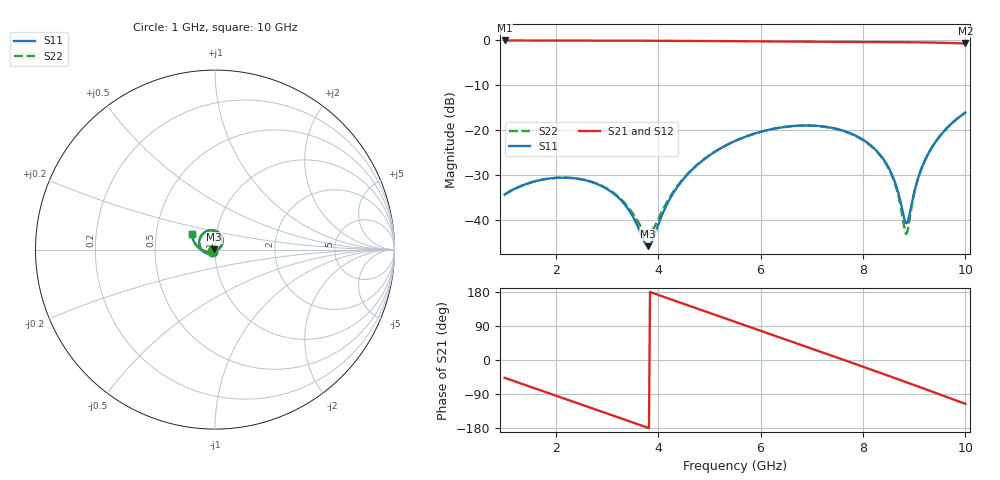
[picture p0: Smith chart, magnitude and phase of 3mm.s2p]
! Touchstone file exported from HFSS 2018.2.0
!  File:  C:/Users/10024/OneDrive - The University of Nottingham Ningbo China/Year 4/Final Year Project/HFSS project/Passive_Resonator_Antenna.aedt
!  Generated:  11:26:12 上午  3月 12, 2022
!  Design:  SMA_Thru
!  Project:  Passive_Resonator_Antenna
!  Setup:  Setup1
!  Solution:  Sweep
! Variables:
!  MW = 1.992mm
!  ThruL = 3mm
!  g = 0.2mm
!  subH = 0.8mm
!  subX = 20mm
!  subY = 13mm
!  tapW = 1.992mm
# GHZ S MA R 50.000000
! Modal data exported
! Port[1] = SMA_CONNECTOR1_1:1
! Port[2] = SMA_CONNECTOR2_1:1
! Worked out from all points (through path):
!   451 points, 1 GHz to 10 GHz, reference 50 ohm
!   highest |S21| = -0.01 dB at 1 GHz (marker M1); lowest = -0.7 dB at 10 GHz (marker M2)
!   group delay of S21, straight-line fit = 132 ps
!   lowest |S11| = -45.9 dB at 3.8 GHz (marker M3), VSWR 1.01, Z = 49.5 + j0.067 ohm
!   |S11| at or under -10 dB: start of sweep to end of sweep
!   |S22| runs from -43.2 to -16.1 dB; largest |S21 - S12| = 2e-14
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1  0.01909 -135.4  0.999 -47.0  0.999 -47.0  0.01909 -138.6
! Gamma ! 0.0151858380091649 30.3716836111973 0.0151858380091509 30.3716836111653
! Port Impedance50 0 50 0
1.76  0.02817 -171.3  0.9976 -82.7  0.9976 -82.7  0.02817 -171.4
2.5  0.02819 155.2  0.9959 -117.5  0.9959 -117.5  0.02827 157.3
3.24  0.01726 127.8  0.9937 -152.3  0.9937 -152.3  0.01766 133.4
3.8  0.005071 172.3  0.9915 -178.8  0.9915 -178.8  0.006955 174.7
4  0.008743 -140.2  0.9906 171.8  0.9906 171.8  0.01007 -148.1
4.24  0.01757 -132.8  0.9892 160.4  0.9892 160.4  0.01832 -137.8
4.56  0.03142 -140.4  0.9871 145.3  0.9871 145.3  0.03185 -142.9
5.04  0.05404 -159.3  0.9832 122.6  0.9832 122.6  0.05423 -160.2
5.5  0.07551 -179.7  0.9787 100.8  0.9787 100.8  0.07553 -179.8
6.22  0.1025 146.9  0.9711 66.8  0.9711 66.8  0.1023 147.6
7  0.1123 109.6  0.964 29.9  0.964 29.9  0.1119 110.7
7.74  0.09274 72.6  0.9603 -5.2  0.9603 -5.2  0.09219 74.3
8.18  0.06534 48.7  0.9589 -26.3  0.9589 -26.3  0.06467 51.1
8.5  0.03814 27.2  0.9575 -41.8  0.9575 -41.8  0.03728 30.8
8.64  0.02473 12.4  0.9566 -48.6  0.9566 -48.6  0.02364 17.5
8.82  0.009675 -45.0  0.9551 -57.3  0.9551 -57.3  0.00754 -41.5
8.86  0.009183 -75.1  0.9547 -59.3  0.9547 -59.3  0.00715 -80.0
9.04  0.0248 -144.6  0.9524 -68.1  0.9524 -68.1  0.02444 -149.0
9.24  0.04986 -165.9  0.949 -78.0  0.949 -78.0  0.04984 -167.7
9.56  0.0939 172.4  0.941 -93.8  0.941 -93.8  0.09397 171.8
10  0.1565 146.4  0.9242 -115.7  0.9242 -115.7  0.1565 146.2
